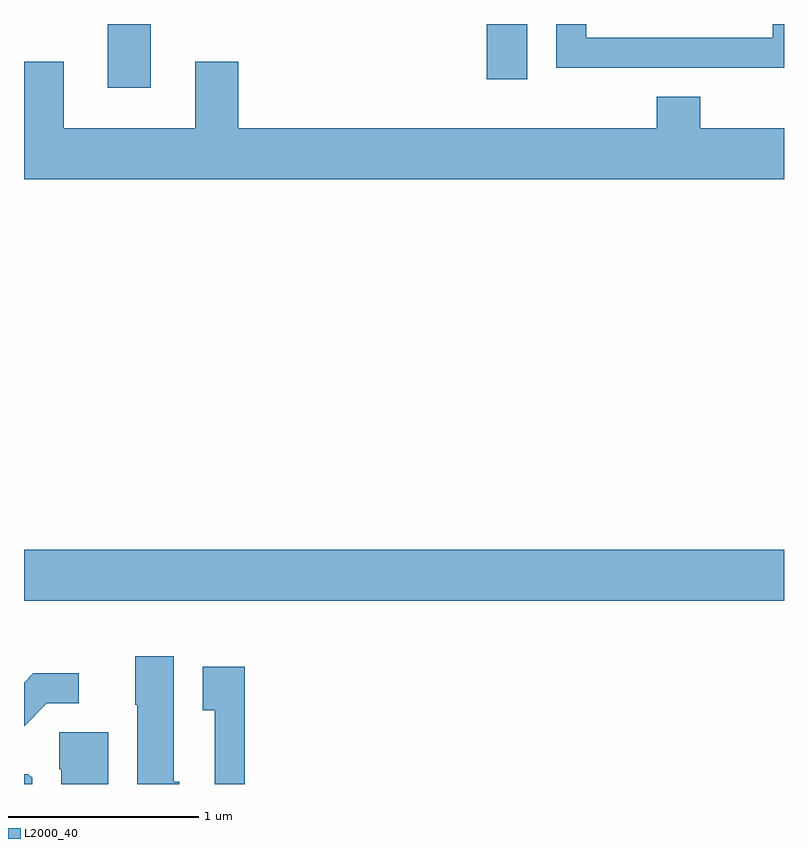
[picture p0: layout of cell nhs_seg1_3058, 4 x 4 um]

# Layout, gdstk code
import gdstk
lib = gdstk.Library(unit=1e-6, precision=1e-09)
def R(c, l, rs):  # rectangles x0, y0, x1, y1
    for r in rs: c.add(gdstk.rectangle(r[:2], r[2:], *l))
def P(c, l, *ps):  # polygons
    for p in ps: c.add(gdstk.Polygon(p, *l))
L2000_40 = (2000, 40)

nhs_seg1_3058 = lib.new_cell('nhs_seg1_3058')
R(nhs_seg1_3058, L2000_40, [(277.611,910.676,281.611,910.944), (278.051,913.376,278.279,913.712), (280.046,913.421,280.259,913.712)])
P(nhs_seg1_3058, L2000_40, [(281.611,913.712),(281.551,913.712),(281.551,913.639),(280.569,913.639),(280.569,913.712),(280.411,913.712),(280.411,913.481),(281.611,913.481)],
  [(281.611,913.164),(281.169,913.164),(281.169,913.329),(280.941,913.329),(280.941,913.164),(278.739,913.164),(278.739,913.514),(278.511,913.514),(278.511,913.164),(277.819,913.164),(277.819,913.514),(277.611,913.514),(277.611,912.896),(281.611,912.896)],
  [(278.429,909.724),(278.399,909.724),(278.399,910.384),(278.196,910.384),(278.196,910.13),(278.206,910.13),(278.206,909.712),(278.429,909.712)],
  [(278.774,910.329),(278.551,910.329),(278.551,910.101),(278.616,910.101),(278.616,909.712),(278.774,909.712)],
  [(277.732,910.136),(277.898,910.136),(277.898,910.294),(277.659,910.294),(277.611,910.246),(277.611,910.015)],
  [(278.054,909.984),(277.796,909.984),(277.796,909.79),(277.806,909.79),(277.806,909.712),(278.054,909.712)],
  [(277.654,909.744),(277.634,909.764),(277.611,909.764),(277.611,909.712),(277.654,909.712)])

lib.write_gds('nhs_seg1_3058.gds')
